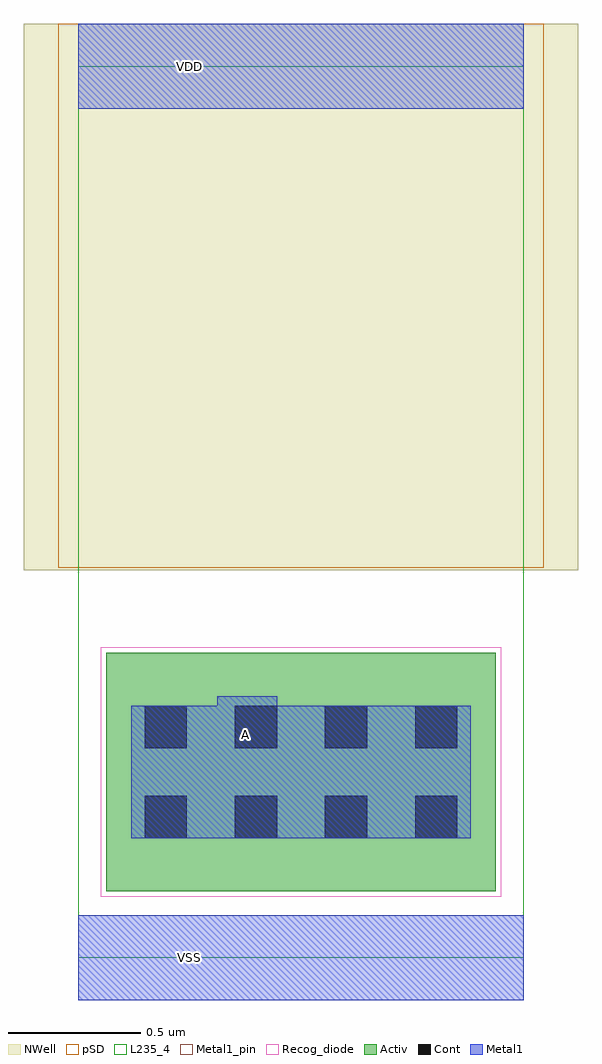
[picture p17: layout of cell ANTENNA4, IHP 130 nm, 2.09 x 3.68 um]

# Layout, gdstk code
import gdstk
lib = gdstk.Library(unit=1e-6, precision=1e-09)
def R(c, l, rs):  # rectangles x0, y0, x1, y1
    for r in rs: c.add(gdstk.rectangle(r[:2], r[2:], *l))
def A(c, l, x, y, w, h, nx, ny, dx, dy):  # array of equal rectangles
    R(c, l, [(x+i*dx, y+j*dy, x+i*dx+w, y+j*dy+h) for i in range(nx) for j in range(ny)])
Activ = (1, 0)
Cont = (6, 0)
Metal1 = (8, 0)
Metal1_pin = (8, 2)
pSD = (14, 0)
NWell = (31, 0)
Recog_diode = (99, 31)
L235_4 = (235, 4)

dantenna_cdns_7643412319 = lib.new_cell('dantenna_CDNS_764341231941')
R(dantenna_cdns_7643412319, Activ, [(0,0,1.47,0.9)])
A(dantenna_cdns_7643412319, Cont, 0.145, 0.2, 0.16, 0.16, 4, 2, 0.34, 0.34)
R(dantenna_cdns_7643412319, Metal1, [(0.095,0.2,1.375,0.7)])
R(dantenna_cdns_7643412319, Metal1_pin, [(0.095,0.2,1.375,0.7)])
R(dantenna_cdns_7643412319, Recog_diode, [(-0.02,-0.02,1.49,0.92)])
dantenna_cdns_7643412319.add(gdstk.Label('dant', (0.735,0.45), layer=63, texttype=0))

antenna4 = lib.new_cell('ANTENNA4')
R(antenna4, Metal1, [(0,-0.16,1.68,0.16), (0.525,0.695,0.75,0.985), (0,3.2,1.68,3.52)])
R(antenna4, Metal1_pin, [(0,-0.16,1.68,0.16), (0.525,0.695,0.75,0.985), (0,3.2,1.68,3.52)])
R(antenna4, pSD, [(-0.075,1.47,1.755,3.52)])
R(antenna4, NWell, [(-0.205,1.46,1.885,3.52)])
R(antenna4, L235_4, [(0,0,1.68,3.36)])
antenna4.add(gdstk.Reference(dantenna_cdns_7643412319, (0.105,0.25)))
antenna4.add(gdstk.Label('A', (0.63,0.84), layer=8, texttype=25))
antenna4.add(gdstk.Label('VSS', (0.42,0), layer=8, texttype=25))
antenna4.add(gdstk.Label('VDD', (0.42,3.36), layer=8, texttype=25))

lib.write_gds('ANTENNA4.gds')
